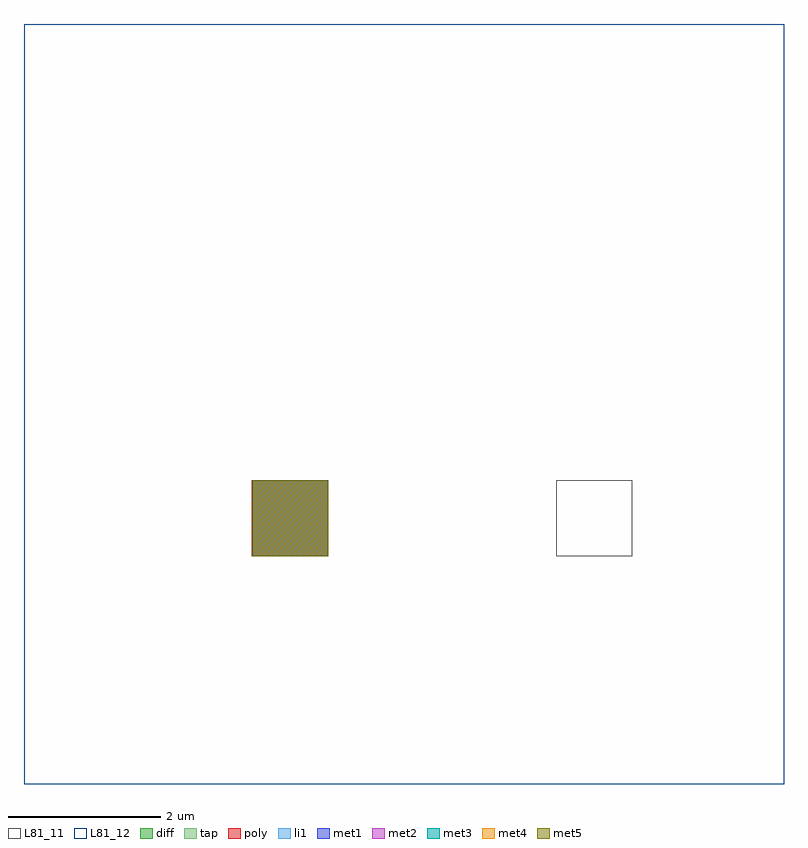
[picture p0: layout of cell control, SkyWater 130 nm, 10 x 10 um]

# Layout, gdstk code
import gdstk
lib = gdstk.Library(unit=1e-6, precision=1e-09)
def R(c, l, rs):  # rectangles x0, y0, x1, y1
    for r in rs: c.add(gdstk.rectangle(r[:2], r[2:], *l))
diff = (65, 20)
tap = (65, 44)
poly = (66, 20)
li1 = (67, 20)
met1 = (68, 20)
met2 = (69, 20)
met3 = (70, 20)
met4 = (71, 20)
met5 = (72, 20)
L81_11 = (81, 11)
L81_12 = (81, 12)

control = lib.new_cell('control')
R(control, diff, [(3,3,4,4)])
R(control, tap, [(3,3,4,4)])
R(control, poly, [(2.999,3,4,4)])
R(control, li1, [(3,3,4,4)])
R(control, met1, [(3,3,4,4)])
R(control, met2, [(3,3,4,4)])
R(control, met3, [(3,3,4,4)])
R(control, met4, [(3,3,4,4)])
R(control, met5, [(3,3,4,4)])
R(control, L81_11, [(7,3,8,4)])
R(control, L81_12, [(0,0,10,10)])

lib.write_gds('control.gds')
